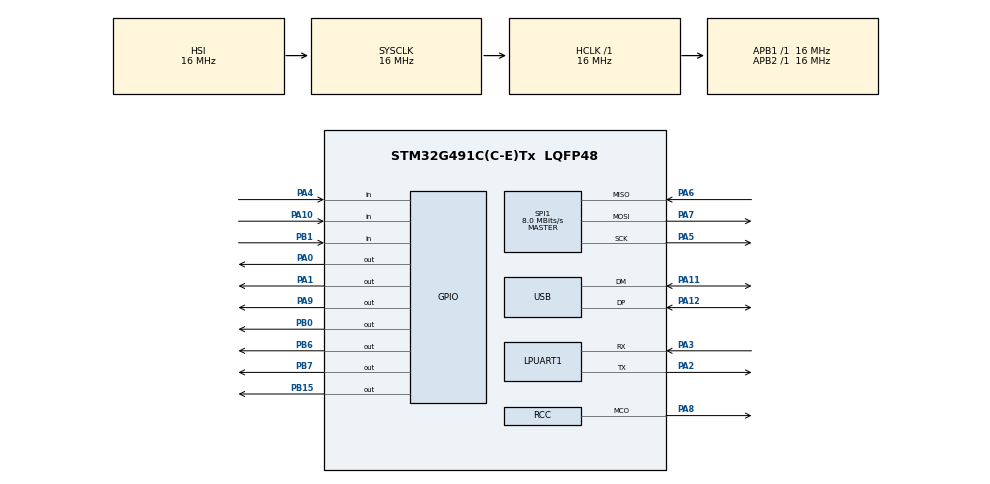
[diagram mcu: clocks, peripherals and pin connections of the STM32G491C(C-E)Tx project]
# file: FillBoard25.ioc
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FREERTOS.Tasks01=defaultTask,24,128,StartDefaultTask,Default,NULL,Dynamic,NULL,NULL
Mcu.Family=STM32G4
Mcu.Name=STM32G491C(C-E)Tx
Mcu.Package=LQFP48
NVIC.PriorityGroup=NVIC_PRIORITYGROUP_4
NVIC.USB_LP_IRQn=true\:5\:0\:false\:false\:true\:true\:false\:true\:true
PA0.Signal=GPIO_Output
PA1.Signal=GPIO_Output
PA10.Signal=GPIO_Input
PA11.Mode=Device
PA11.Signal=USB_DM
PA12.Mode=Device
PA12.Signal=USB_DP
PA13.Mode=JTAG_5_pins
PA13.Signal=SYS_JTMS-SWDIO
PA14.Mode=JTAG_5_pins
PA14.Signal=SYS_JTCK-SWCLK
PA15.Mode=JTAG_5_pins
PA15.Signal=SYS_JTDI
PA2.Mode=Asynchronous
PA2.Signal=LPUART1_TX
PA3.Mode=Asynchronous
PA3.Signal=LPUART1_RX
PA4.Signal=GPIO_Input
PA5.Mode=Full_Duplex_Master
PA5.Signal=SPI1_SCK
PA6.Mode=Full_Duplex_Master
PA6.Signal=SPI1_MISO
PA7.Mode=Full_Duplex_Master
PA7.Signal=SPI1_MOSI
PA8.Mode=Clock-out
PA8.Signal=RCC_MCO
PA9.Signal=GPIO_Output
PB0.Signal=GPIO_Output
PB1.Signal=GPIO_Input
PB15.Signal=GPIO_Output
PB3.Mode=JTAG_5_pins
PB3.Signal=SYS_JTDO-SWO
PB4.Mode=JTAG_5_pins
PB4.Signal=SYS_JTRST
PB6.Signal=GPIO_Output
PB7.Signal=GPIO_Output
PC14-OSC32_IN.Mode=LSE-External-Oscillator
PC14-OSC32_IN.Signal=RCC_OSC32_IN
PC15-OSC32_OUT.Mode=LSE-External-Oscillator
PC15-OSC32_OUT.Signal=RCC_OSC32_OUT
PF0-OSC_IN.Mode=HSE-External-Oscillator
PF0-OSC_IN.Signal=RCC_OSC_IN
PF1-OSC_OUT.Mode=HSE-External-Oscillator
PF1-OSC_OUT.Signal=RCC_OSC_OUT
ProjectManager.HeapSize=0x200
ProjectManager.StackSize=0x400
ProjectManager.TargetToolchain=STM32CubeIDE
RCC.AHBFreq_Value=16000000
RCC.APB1Freq_Value=16000000
RCC.APB1TimFreq_Value=16000000
RCC.APB2Freq_Value=16000000
RCC.APB2TimFreq_Value=16000000
RCC.CortexFreq_Value=16000000
RCC.EXTERNAL_CLOCK_VALUE=12288000
RCC.HCLKFreq_Value=16000000
RCC.HSE_VALUE=8000000
RCC.HSI48_VALUE=48000000
RCC.HSI_VALUE=16000000
RCC.SYSCLKFreq_VALUE=16000000
RCC.VCOOutputFreq_Value=128000000
SPI1.CalculateBaudRate=8.0 MBits/s
SPI1.Direction=SPI_DIRECTION_2LINES
SPI1.Mode=SPI_MODE_MASTER
SPI1.VirtualType=VM_MASTER
USB_DEVICE.CLASS_NAME_FS=CDC
USB_DEVICE.VirtualMode=Cdc
USB_DEVICE.VirtualModeFS=Cdc_FS
VP_FREERTOS_VS_CMSIS_V2.Mode=CMSIS_V2
VP_SYS_VS_DBSignals.Mode=DisableDeadBatterySignals
VP_USB_DEVICE_VS_USB_DEVICE_CDC_FS.Mode=CDC_FS
board=custom

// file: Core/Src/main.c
/* USER CODE BEGIN Header */

/**
  ******************************************************************************
  * @file           : main.c
  * @brief          : Main program body
  ******************************************************************************
  * @attention
  *
  * Copyright (c) 2025 STMicroelectronics.
  * All rights reserved.
  *
  * This software is licensed under terms that can be found in the LICENSE file
  * in the root directory of this software component.
  * If no LICENSE file comes with this software, it is provided AS-IS.
  *
  ******************************************************************************
  */
/* USER CODE END Header */
#include "main.h"
#include "cmsis_os.h"
#include "usb_device.h"

/* USER CODE BEGIN Includes */

#include "Drivers/MCP3561.h"
#include <stdio.h>
#include <stdarg.h>

/* USER CODE END Includes */

UART_HandleTypeDef hlpuart1;

SPI_HandleTypeDef hspi1;

/* Definitions for defaultTask */
osThreadId_t defaultTaskHandle;
const osThreadAttr_t defaultTask_attributes = {
  .name = "defaultTask",
  .priority = (osPriority_t) osPriorityNormal,
  .stack_size = 128 * 4
};
/* USER CODE BEGIN PV */
#define PRINT_BUFFER_SIZE     256
/* USER CODE END PV */

void SystemClock_Config(void);
static void MX_GPIO_Init(void);
static void MX_LPUART1_UART_Init(void);
static void MX_SPI1_Init(void);
void StartDefaultTask(void *argument);

/* USER CODE BEGIN 0 */

extern void CDC_Transmit_Print(const char *format, ...) {
	char buf[PRINT_BUFFER_SIZE];
	va_list args;
	va_start(args, format);
	int n = vsprintf(buf, format, args);
	CDC_Transmit_FS(buf, n);
}

/* USER CODE END 0 */

int main(void)
{

  /* MCU Configuration--------------------------------------------------------*/

  /* Reset of all peripherals, Initializes the Flash interface and the Systick. */
  HAL_Init();

  /* Configure the system clock */
  SystemClock_Config();

  /* Initialize all configured peripherals */
  MX_GPIO_Init();
  MX_LPUART1_UART_Init();
  MX_SPI1_Init();
  /* USER CODE BEGIN 2 */

  CDC_Transmit_Print("BEGGINING MCP TEST\r\n");

  MCP3561_Handle_t *mcp_handle;

  MCP3561_Init(mcp_handle, &hspi1);

  MCP3561_Step(mcp_handle);

  while(1){
	  MCP3561_Step(mcp_handle);

	  CDC_Transmit_Print("ADC : %d,\n", MCP3561_Get_CH0_Data(mcp_handle) );
  }

  /* USER CODE END 2 */

  /* Init scheduler */
  osKernelInitialize();

  /* Create the thread(s) */
  /* creation of defaultTask */
  defaultTaskHandle = osThreadNew(StartDefaultTask, NULL, &defaultTask_attributes);

  /* Start scheduler */
  osKernelStart();

  /* We should never get here as control is now taken by the scheduler */

  /* Infinite loop */
  while (1)
  {

  }
}

void SystemClock_Config(void)
{
  RCC_OscInitTypeDef RCC_OscInitStruct = {0};
  RCC_ClkInitTypeDef RCC_ClkInitStruct = {0};

  /** Configure the main internal regulator output voltage
  */
  HAL_PWREx_ControlVoltageScaling(PWR_REGULATOR_VOLTAGE_SCALE1);

  /** Initializes the RCC Oscillators according to the specified parameters
  * in the RCC_OscInitTypeDef structure.
  */
  RCC_OscInitStruct.OscillatorType = RCC_OSCILLATORTYPE_HSI|RCC_OSCILLATORTYPE_HSI48;
  RCC_OscInitStruct.HSIState = RCC_HSI_ON;
  RCC_OscInitStruct.HSICalibrationValue = RCC_HSICALIBRATION_DEFAULT;
  RCC_OscInitStruct.HSI48State = RCC_HSI48_ON;
  RCC_OscInitStruct.PLL.PLLState = RCC_PLL_NONE;
  if (HAL_RCC_OscConfig(&RCC_OscInitStruct) != HAL_OK)
  {
    Error_Handler();
  }

  /** Initializes the CPU, AHB and APB buses clocks
  */
  RCC_ClkInitStruct.ClockType = RCC_CLOCKTYPE_HCLK|RCC_CLOCKTYPE_SYSCLK
                              |RCC_CLOCKTYPE_PCLK1|RCC_CLOCKTYPE_PCLK2;
  RCC_ClkInitStruct.SYSCLKSource = RCC_SYSCLKSOURCE_HSI;
  RCC_ClkInitStruct.AHBCLKDivider = RCC_SYSCLK_DIV1;
  RCC_ClkInitStruct.APB1CLKDivider = RCC_HCLK_DIV1;
  RCC_ClkInitStruct.APB2CLKDivider = RCC_HCLK_DIV1;

  if (HAL_RCC_ClockConfig(&RCC_ClkInitStruct, FLASH_LATENCY_0) != HAL_OK)
  {
    Error_Handler();
  }
  HAL_RCC_MCOConfig(RCC_MCO1, RCC_MCO1SOURCE_HSI, RCC_MCODIV_1);
}

static void MX_LPUART1_UART_Init(void)
{

  hlpuart1.Instance = LPUART1;
  hlpuart1.Init.BaudRate = 209700;
  hlpuart1.Init.WordLength = UART_WORDLENGTH_8B;
  hlpuart1.Init.StopBits = UART_STOPBITS_1;
  hlpuart1.Init.Parity = UART_PARITY_NONE;
  hlpuart1.Init.Mode = UART_MODE_TX_RX;
  hlpuart1.Init.HwFlowCtl = UART_HWCONTROL_NONE;
  hlpuart1.Init.OneBitSampling = UART_ONE_BIT_SAMPLE_DISABLE;
  hlpuart1.Init.ClockPrescaler = UART_PRESCALER_DIV1;
  hlpuart1.AdvancedInit.AdvFeatureInit = UART_ADVFEATURE_NO_INIT;
  if (HAL_UART_Init(&hlpuart1) != HAL_OK)
  {
    Error_Handler();
  }
  if (HAL_UARTEx_SetTxFifoThreshold(&hlpuart1, UART_TXFIFO_THRESHOLD_1_8) != HAL_OK)
  {
    Error_Handler();
  }
  if (HAL_UARTEx_SetRxFifoThreshold(&hlpuart1, UART_RXFIFO_THRESHOLD_1_8) != HAL_OK)
  {
    Error_Handler();
  }
  if (HAL_UARTEx_DisableFifoMode(&hlpuart1) != HAL_OK)
  {
    Error_Handler();
  }

}

static void MX_SPI1_Init(void)
{

  /* SPI1 parameter configuration*/
  hspi1.Instance = SPI1;
  hspi1.Init.Mode = SPI_MODE_MASTER;
  hspi1.Init.Direction = SPI_DIRECTION_2LINES;
  hspi1.Init.DataSize = SPI_DATASIZE_4BIT;
  hspi1.Init.CLKPolarity = SPI_POLARITY_LOW;
  hspi1.Init.CLKPhase = SPI_PHASE_1EDGE;
  hspi1.Init.NSS = SPI_NSS_SOFT;
  hspi1.Init.BaudRatePrescaler = SPI_BAUDRATEPRESCALER_2;
  hspi1.Init.FirstBit = SPI_FIRSTBIT_MSB;
  hspi1.Init.TIMode = SPI_TIMODE_DISABLE;
  hspi1.Init.CRCCalculation = SPI_CRCCALCULATION_DISABLE;
  hspi1.Init.CRCPolynomial = 7;
  hspi1.Init.CRCLength = SPI_CRC_LENGTH_DATASIZE;
  hspi1.Init.NSSPMode = SPI_NSS_PULSE_ENABLE;
  if (HAL_SPI_Init(&hspi1) != HAL_OK)
  {
    Error_Handler();
  }

}

static void MX_GPIO_Init(void)
{
  GPIO_InitTypeDef GPIO_InitStruct = {0};

  /* GPIO Ports Clock Enable */
  __HAL_RCC_GPIOC_CLK_ENABLE();
  __HAL_RCC_GPIOF_CLK_ENABLE();
  __HAL_RCC_GPIOA_CLK_ENABLE();
  __HAL_RCC_GPIOB_CLK_ENABLE();

  /*Configure GPIO pin Output Level */
  HAL_GPIO_WritePin(GPIOA, GPIO_PIN_0|GPIO_PIN_1|GPIO_PIN_9, GPIO_PIN_RESET);

  /*Configure GPIO pin Output Level */
  HAL_GPIO_WritePin(GPIOB, GPIO_PIN_0|GPIO_PIN_15|GPIO_PIN_6|GPIO_PIN_7, GPIO_PIN_RESET);

  /*Configure GPIO pins : PA0 PA1 PA9 */
  GPIO_InitStruct.Pin = GPIO_PIN_0|GPIO_PIN_1|GPIO_PIN_9;
  GPIO_InitStruct.Mode = GPIO_MODE_OUTPUT_PP;
  GPIO_InitStruct.Pull = GPIO_NOPULL;
  GPIO_InitStruct.Speed = GPIO_SPEED_FREQ_LOW;
  HAL_GPIO_Init(GPIOA, &GPIO_InitStruct);

  /*Configure GPIO pins : PA4 PA10 */
  GPIO_InitStruct.Pin = GPIO_PIN_4|GPIO_PIN_10;
  GPIO_InitStruct.Mode = GPIO_MODE_INPUT;
  GPIO_InitStruct.Pull = GPIO_NOPULL;
  HAL_GPIO_Init(GPIOA, &GPIO_InitStruct);

  /*Configure GPIO pins : PB0 PB15 PB6 PB7 */
  GPIO_InitStruct.Pin = GPIO_PIN_0|GPIO_PIN_15|GPIO_PIN_6|GPIO_PIN_7;
  GPIO_InitStruct.Mode = GPIO_MODE_OUTPUT_PP;
  GPIO_InitStruct.Pull = GPIO_NOPULL;
  GPIO_InitStruct.Speed = GPIO_SPEED_FREQ_LOW;
  HAL_GPIO_Init(GPIOB, &GPIO_InitStruct);

  /*Configure GPIO pin : PB1 */
  GPIO_InitStruct.Pin = GPIO_PIN_1;
  GPIO_InitStruct.Mode = GPIO_MODE_INPUT;
  GPIO_InitStruct.Pull = GPIO_NOPULL;
  HAL_GPIO_Init(GPIOB, &GPIO_InitStruct);

  /*Configure GPIO pin : PA8 */
  GPIO_InitStruct.Pin = GPIO_PIN_8;
  GPIO_InitStruct.Mode = GPIO_MODE_AF_PP;
  GPIO_InitStruct.Pull = GPIO_NOPULL;
  GPIO_InitStruct.Speed = GPIO_SPEED_FREQ_LOW;
  GPIO_InitStruct.Alternate = GPIO_AF0_MCO;
  HAL_GPIO_Init(GPIOA, &GPIO_InitStruct);

}

void StartDefaultTask(void *argument)
{
  /* init code for USB_Device */
  MX_USB_Device_Init();
  for(;;)
  {
    osDelay(1);
  }
}

void Error_Handler(void)
{
  __disable_irq();
  while (1)
  {
  }
}
